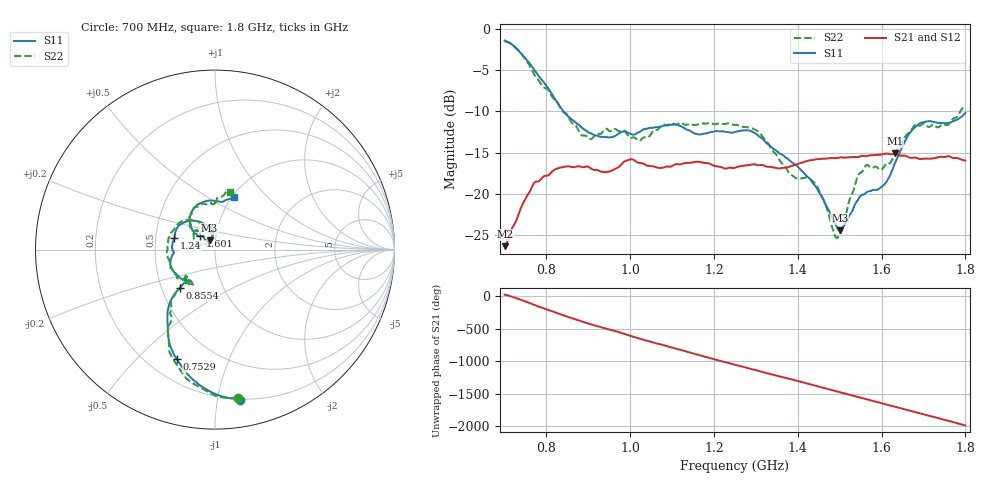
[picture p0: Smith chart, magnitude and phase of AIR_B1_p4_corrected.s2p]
! Created with skrf 1.9.0 (http://scikit-rf.org).
# Hz S RI R 50.0
!freq ReS11 ImS11 ReS21 ImS21 ReS12 ImS12 ReS22 ImS22
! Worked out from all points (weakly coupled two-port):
!   1601 points, 700 MHz to 1.8 GHz, reference 50 ohm
!   highest |S21| = -15.09 dB at 1.632 GHz (marker M1); lowest = -26.3 dB at 700.7 MHz (marker M2)
!   lowest |S11| = -24.4 dB at 1.5 GHz (marker M3), VSWR 1.13, Z = 46.8 + j4.92 ohm
!   |S11| at or under -10 dB: 840.3 MHz to end of sweep
!   |S22| runs from -25.3 to -1.5 dB; largest |S21 - S12| = 0.0029
!   S11 on the Smith chart (normalised r, x): 700 MHz: 0.20, -1.16; 752.9 MHz: 0.32, -0.66; 855.4 MHz: 0.62, -0.29; 1.24 GHz: 0.63, +0.08; 1.601 GHz: 0.84, +0.13; 1.8 GHz: 1.02, +0.66
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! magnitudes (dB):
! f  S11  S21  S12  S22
! 700 MHz  -1.4  -26.3  -26.1  -1.5
! 700.7 MHz  -1.5  -26.3  -26.0  -1.5
! 752.9 MHz  -3.8  -20.3  -20.2  -4.0
! 855.4 MHz  -10.8  -16.7  -16.7  -11.0
! 883.6 MHz  -11.9  -16.7  -16.6  -12.9
! 949.6 MHz  -13.2  -17.3  -17.3  -12.4
! 1.021 GHz  -12.5  -16.3  -16.2  -13.6
! 1.067 GHz  -11.9  -16.8  -16.8  -12.1
! 1.24 GHz  -12.6  -16.8  -16.9  -11.5
! 1.25 GHz  -12.5  -16.8  -16.8  -11.6
! 1.3 GHz  -12.7  -16.4  -16.4  -12.3
! 1.383 GHz  -16.0  -16.6  -16.7  -17.6
! 1.434 GHz  -18.5  -15.9  -15.9  -18.4
! 1.489 GHz  -23.5  -15.7  -15.6  -25.0
! 1.5 GHz  -24.4  -15.6  -15.6  -24.9
! 1.546 GHz  -20.6  -15.5  -15.5  -17.6
! 1.601 GHz  -19.1  -15.2  -15.2  -17.0
! 1.617 GHz  -18.0  -15.1  -15.1  -16.4
! 1.632 GHz  -16.3  -15.1  -15.2  -15.1
! 1.689 GHz  -11.5  -15.7  -15.7  -11.8
! 1.757 GHz  -11.4  -15.4  -15.5  -11.7
! 1.8 GHz  -10.2  -16.0  -15.9  -9.5
